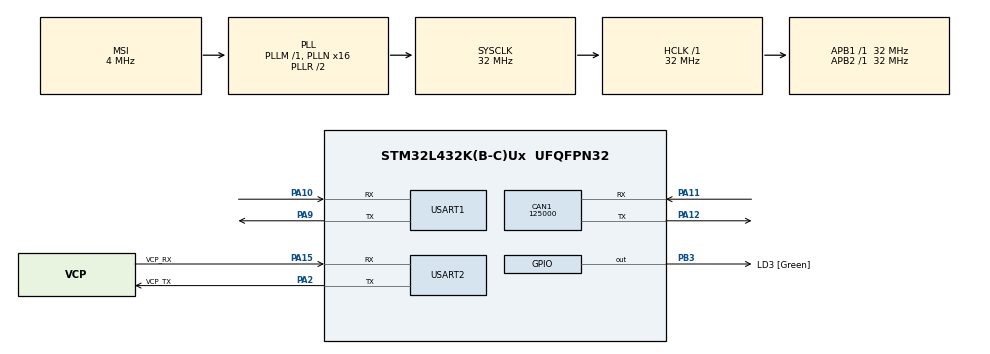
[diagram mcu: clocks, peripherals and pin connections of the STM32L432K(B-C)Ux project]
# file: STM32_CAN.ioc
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CAN1.BS1=CAN_BS1_13TQ
CAN1.BS2=CAN_BS2_2TQ
CAN1.CalculateBaudRate=125000
CAN1.CalculateTimeBit=8000
CAN1.CalculateTimeQuantum=500.0
CAN1.Mode=CAN_MODE_LOOPBACK
Mcu.Family=STM32L4
Mcu.Name=STM32L432K(B-C)Ux
Mcu.Package=UFQFPN32
NVIC.PriorityGroup=NVIC_PRIORITYGROUP_4
PA0.GPIO_Label=MCO [High speed clock in]
PA0.Mode=HSE-External-Clock-Source-for-LittleOrca
PA0.Signal=RCC_CK_IN
PA10.Mode=LIN
PA10.Signal=USART1_RX
PA11.Mode=CAN_Activate
PA11.Signal=CAN1_RX
PA12.Mode=CAN_Activate
PA12.Signal=CAN1_TX
PA13\ (JTMS-SWDIO).GPIO_Label=SWDIO
PA13\ (JTMS-SWDIO).Mode=Serial_Wire
PA13\ (JTMS-SWDIO).Signal=SYS_JTMS-SWDIO
PA14\ (JTCK-SWCLK).GPIO_Label=SWCLK
PA14\ (JTCK-SWCLK).Mode=Serial_Wire
PA14\ (JTCK-SWCLK).Signal=SYS_JTCK-SWCLK
PA15\ (JTDI).GPIO_Label=VCP_RX
PA15\ (JTDI).Mode=Asynchronous
PA15\ (JTDI).Signal=USART2_RX
PA2.GPIO_Label=VCP_TX
PA2.Mode=Asynchronous
PA2.Signal=USART2_TX
PA9.Mode=LIN
PA9.Signal=USART1_TX
PB3\ (JTDO-TRACESWO).GPIO_Label=LD3 [Green]
PB3\ (JTDO-TRACESWO).Signal=GPIO_Output
PC14-OSC32_IN\ (PC14).Mode=LSE-External-Oscillator
PC14-OSC32_IN\ (PC14).Signal=RCC_OSC32_IN
PC15-OSC32_OUT\ (PC15).Mode=LSE-External-Oscillator
PC15-OSC32_OUT\ (PC15).Signal=RCC_OSC32_OUT
ProjectManager.HeapSize=0x200
ProjectManager.StackSize=0x400
ProjectManager.TargetToolchain=Makefile
RCC.AHBFreq_Value=32000000
RCC.APB1Freq_Value=32000000
RCC.APB1TimFreq_Value=32000000
RCC.APB2Freq_Value=32000000
RCC.APB2TimFreq_Value=32000000
RCC.CortexFreq_Value=32000000
RCC.HCLKFreq_Value=32000000
RCC.HSE_VALUE=8000000
RCC.HSI16_VALUE=16000000
RCC.HSI48_VALUE=48000000
RCC.HSI_VALUE=16000000
RCC.MSI_VALUE=4000000
RCC.PLLMUL=RCC_PLLMUL_4
RCC.PLLN=16
RCC.SYSCLKFreq_VALUE=32000000
RCC.SYSCLKSource=RCC_SYSCLKSOURCE_PLLCLK
RCC.VCOOutputFreq_Value=64000000
USART1.AutoBaudRateEnableParam=UART_ADVFEATURE_AUTOBAUDRATE_DISABLE
USART1.VirtualMode-LIN=VM_LIN
USART2.VirtualMode-Asynchronous=VM_ASYNC
board=NUCLEO-L432KC

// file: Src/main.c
/* USER CODE BEGIN Header */
/**
 ******************************************************************************
 * @file           : main.c
 * @brief          : Main program body
 ******************************************************************************
 * @attention
 *
 * Copyright (c) 2022 STMicroelectronics.
 * All rights reserved.
 *
 * This software is licensed under terms that can be found in the LICENSE file
 * in the root directory of this software component.
 * If no LICENSE file comes with this software, it is provided AS-IS.
 *
 ******************************************************************************
 */
/* USER CODE END Header */
#include "main.h"
#include "can.h"
#include "usart.h"
#include "gpio.h"

/* USER CODE BEGIN PD */
// Specify operating modes
#define TRANSMITER 1
#define RECEIVER 2

// Define if using Extended CAN frames
#define EXTENDED_FRAMES 1

/* Half of time in which frames are transmited */
#define HALF_OF_TRANSMIT_INTERVAL 1000

/* USER CODE END PD */

/* USER CODE BEGIN PV */
CanDataFrameInit dataFrame;
/* USER CODE END PV */

void SystemClock_Config(void);

int main(void)
{

    /* MCU Configuration--------------------------------------------------------*/

    /* Reset of all peripherals, Initializes the Flash interface and the Systick. */
    HAL_Init();

    /* Configure the system clock */
    SystemClock_Config();

    /* Initialize all configured peripherals */
    MX_GPIO_Init();
    MX_USART2_UART_Init();
    MX_CAN1_Init();
    MX_USART1_UART_Init();
    /* USER CODE BEGIN 2 */
    GPIO_Init();
    CanConfigFilter(1);
    CanInit();

    /* USER CODE END 2 */

    /* Infinite loop */
    /* USER CODE BEGIN WHILE */
    while (1)
    {
        HAL_GPIO_TogglePin(LD3_GPIO_Port, LD3_Pin);
#ifdef TRANSMITER
#ifdef EXTENDED_FRAMES
        int transmit_result = CanSendExtendedIdMessage(SPECIFIED_EXTENDED_ID, 8, 0x11, 0x22, 0x33, 0x44, 0x55, 0x66, 0x77, 0x88);
        if (transmit_result != RESULT_SUCCESS)
        {
            OnFailedTransmit();
        }
        else
        {
            OnSuccessfulTransmit();
        }
#endif

#ifndef EXTENDED_FRAMES
        int transmit_result = CanSendStandardIdMessage(SPECIFIED_STANDARD_ID, 8, 0x11, 0x22, 0x33, 0x44, 0x55, 0x66, 0x77, 0x88);
        if (transmit_result != RESULT_SUCCESS)
        {
            OnFailedTransmit();
        }
        else
        {
            OnSuccessfulTransmit();
        }
#endif
#endif

#ifdef RECEIVER
#ifdef EXTENDED_FRAMES
        int receive_result = CanReceiveData(&dataFrame);
        if (receive_result != RESULT_SUCCESS)
        {
            OnFailedReceive();
        }
        else
        {
            ValidateExtendedFrame(&dataFrame);
            HAL_Delay(HALF_OF_TRANSMIT_INTERVAL);
        }
#endif

#ifndef EXTENDED_FRAMES
        int receive_result = CanReceiveData(&dataFrame);
        if (receive_result != RESULT_SUCCESS)
        {
            OnFailedReceive();
        }
        else
        {
            ValidateStandardFrame(&dataFrame);
            HAL_Delay(HALF_OF_TRANSMIT_INTERVAL);
        }
#endif
#endif
        /* USER CODE END WHILE */

    }
}

void SystemClock_Config(void)
{
    RCC_OscInitTypeDef RCC_OscInitStruct = {0};
    RCC_ClkInitTypeDef RCC_ClkInitStruct = {0};

    /** Configure the main internal regulator output voltage
     */
    if (HAL_PWREx_ControlVoltageScaling(PWR_REGULATOR_VOLTAGE_SCALE1) != HAL_OK)
    {
        Error_Handler();
    }

    /** Configure LSE Drive Capability
     */
    HAL_PWR_EnableBkUpAccess();
    __HAL_RCC_LSEDRIVE_CONFIG(RCC_LSEDRIVE_LOW);

    /** Initializes the RCC Oscillators according to the specified parameters
     * in the RCC_OscInitTypeDef structure.
     */
    RCC_OscInitStruct.OscillatorType = RCC_OSCILLATORTYPE_LSE | RCC_OSCILLATORTYPE_MSI;
    RCC_OscInitStruct.LSEState = RCC_LSE_ON;
    RCC_OscInitStruct.MSIState = RCC_MSI_ON;
    RCC_OscInitStruct.MSICalibrationValue = 0;
    RCC_OscInitStruct.MSIClockRange = RCC_MSIRANGE_6;
    RCC_OscInitStruct.PLL.PLLState = RCC_PLL_ON;
    RCC_OscInitStruct.PLL.PLLSource = RCC_PLLSOURCE_MSI;
    RCC_OscInitStruct.PLL.PLLM = 1;
    RCC_OscInitStruct.PLL.PLLN = 16;
    RCC_OscInitStruct.PLL.PLLP = RCC_PLLP_DIV7;
    RCC_OscInitStruct.PLL.PLLQ = RCC_PLLQ_DIV2;
    RCC_OscInitStruct.PLL.PLLR = RCC_PLLR_DIV2;
    if (HAL_RCC_OscConfig(&RCC_OscInitStruct) != HAL_OK)
    {
        Error_Handler();
    }

    /** Initializes the CPU, AHB and APB buses clocks
     */
    RCC_ClkInitStruct.ClockType = RCC_CLOCKTYPE_HCLK | RCC_CLOCKTYPE_SYSCLK | RCC_CLOCKTYPE_PCLK1 | RCC_CLOCKTYPE_PCLK2;
    RCC_ClkInitStruct.SYSCLKSource = RCC_SYSCLKSOURCE_PLLCLK;
    RCC_ClkInitStruct.AHBCLKDivider = RCC_SYSCLK_DIV1;
    RCC_ClkInitStruct.APB1CLKDivider = RCC_HCLK_DIV1;
    RCC_ClkInitStruct.APB2CLKDivider = RCC_HCLK_DIV1;

    if (HAL_RCC_ClockConfig(&RCC_ClkInitStruct, FLASH_LATENCY_1) != HAL_OK)
    {
        Error_Handler();
    }

    /** Enable MSI Auto calibration
     */
    HAL_RCCEx_EnableMSIPLLMode();
}

/* USER CODE BEGIN 4 */
void OnSuccessfulTransmit()
{
    HAL_GPIO_WritePin(TRANSMIT_LED_GPIO_Port, TRANSMIT_LED_Pin, SET);
    HAL_Delay(HALF_OF_TRANSMIT_INTERVAL);
    HAL_GPIO_WritePin(TRANSMIT_LED_GPIO_Port, TRANSMIT_LED_Pin, RESET);
    HAL_Delay(HALF_OF_TRANSMIT_INTERVAL);
}

void OnFailedTransmit()
{
    HAL_GPIO_WritePin(ERR_LED_GPIO_Port, ERR_LED_Pin, SET);
    HAL_Delay(HALF_OF_TRANSMIT_INTERVAL);
    HAL_GPIO_WritePin(ERR_LED_GPIO_Port, ERR_LED_Pin, RESET);
    HAL_Delay(HALF_OF_TRANSMIT_INTERVAL);
}

void OnFailedReceive()
{
    HAL_GPIO_WritePin(ERR_LED_GPIO_Port, ERR_LED_Pin, SET);
    HAL_Delay(HALF_OF_TRANSMIT_INTERVAL);
    HAL_GPIO_WritePin(ERR_LED_GPIO_Port, ERR_LED_Pin, RESET);
    HAL_Delay(HALF_OF_TRANSMIT_INTERVAL);
}
/* USER CODE END 4 */

void Error_Handler(void)
{
    __disable_irq();
    while (1)
    {
    }
}
